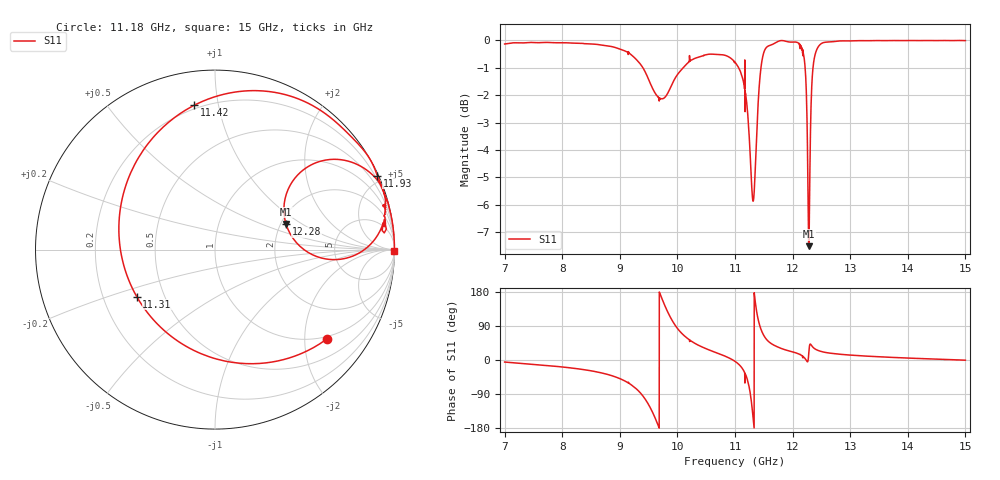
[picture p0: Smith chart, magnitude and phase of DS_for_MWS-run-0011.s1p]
! TOUCHSTONE file generated by CST DESIGN STUDIO
! Date and time: Mon Feb 10 16:52:31 2025
! Project name: C:\Work\MatlabApps\UnitCellType2OptimizationMatlab\CST\unitcell.cst
! Tree item: Tasks\Sweep1\SPara1\S-Parameters
! Header version: 2024
! Port assignment regex: !\s*Touchstone port\s*([0-9]+)\s*=\s*(CST MWS port|CST DES external port|CST DES block port)\s*(.+)\s* \(\"(.*)\"\)(\s*mode\s*([0-9]+))?.*
! Touchstone port assignment:
! Touchstone port 1 = CST DES external port 1 ("")
# GHz S MA R 50
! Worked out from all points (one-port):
!   4001 points, 7 GHz to 15 GHz, reference 50 ohm
!   lowest |S11| = -7.5 dB at 12.28 GHz (marker M1), VSWR 2.45, Z = 107 + j36.9 ohm
!   |S11| at or under -10 dB: nowhere
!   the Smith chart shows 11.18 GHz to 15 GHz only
!   S11 on the Smith chart (normalised r, x): 11.18 GHz: 0.92, -2.56; 11.31 GHz: 0.35, -0.25; 11.42 GHz: 0.18, +0.85; 11.93 GHz: 0.07, +4.61; 12.28 GHz: 2.14, +0.74; 15 GHz: open
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7  0.9853 -5.4
8  0.9909 -18.4
9  0.9645 -49.1
9.23  0.9354 -69.0
9.422  0.8837 -99.2
9.542  0.8289 -129.7
9.664  0.7887 -171.8
9.834  0.8016 126.0
10  0.8659 83.5
10.374  0.9327 38.2
11  0.9125 -3.6
11.18  0.8007 -38.6
11.256  0.6404 -79.9
11.312  0.5086 -148.9
11.358  0.6055 146.2
11.416  0.8123 98.2
11.494  0.9459 66.3
11.576  0.9766 49.7
11.926  0.9941 24.5
12  0.9933 21.5
12.192  0.9405 8.0
12.242  0.7823 -2.2
12.282  0.4206 19.7
12.35  0.8817 34.2
12.504  0.9878 22.2
13  0.9981 13.0
14  0.9998 5.1
15  0.9994 -0.5
